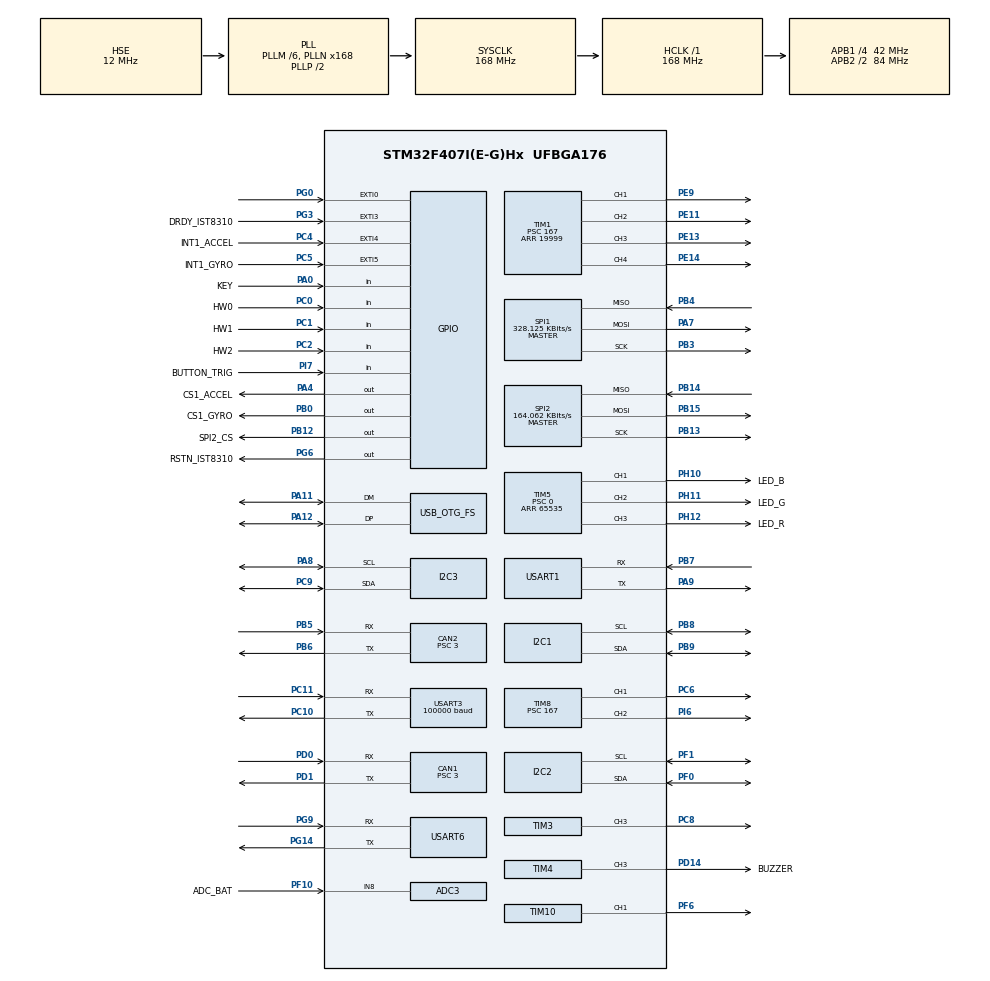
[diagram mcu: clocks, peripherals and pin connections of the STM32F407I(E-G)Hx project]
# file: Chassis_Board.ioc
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ADC1.Channel-0\#ChannelRegularConversion=ADC_CHANNEL_TEMPSENSOR
ADC1.ClockPrescaler=ADC_CLOCK_SYNC_PCLK_DIV6
ADC1.NbrOfConversionFlag=1
ADC1.Rank-0\#ChannelRegularConversion=1
ADC1.SamplingTime-0\#ChannelRegularConversion=ADC_SAMPLETIME_3CYCLES
ADC1.master=1
ADC3.Channel-0\#ChannelRegularConversion=ADC_CHANNEL_8
ADC3.ClockPrescaler=ADC_CLOCK_SYNC_PCLK_DIV6
ADC3.NbrOfConversionFlag=1
ADC3.Rank-0\#ChannelRegularConversion=1
ADC3.SamplingTime-0\#ChannelRegularConversion=ADC_SAMPLETIME_3CYCLES
CAN1.BS1=CAN_BS1_10TQ
CAN1.BS2=CAN_BS2_3TQ
CAN1.CalculateTimeQuantum=71.42857142857143
CAN1.Prescaler=3
CAN2.BS1=CAN_BS1_10TQ
CAN2.BS2=CAN_BS2_3TQ
CAN2.CalculateTimeQuantum=71.42857142857143
CAN2.Prescaler=3
Dma.I2C2_TX.2.Direction=DMA_MEMORY_TO_PERIPH
Dma.I2C2_TX.2.FIFOMode=DMA_FIFOMODE_DISABLE
Dma.I2C2_TX.2.Instance=DMA1_Stream7
Dma.I2C2_TX.2.MemDataAlignment=DMA_MDATAALIGN_BYTE
Dma.I2C2_TX.2.MemInc=DMA_MINC_ENABLE
Dma.I2C2_TX.2.Mode=DMA_NORMAL
Dma.I2C2_TX.2.PeriphDataAlignment=DMA_PDATAALIGN_BYTE
Dma.I2C2_TX.2.PeriphInc=DMA_PINC_DISABLE
Dma.I2C2_TX.2.Priority=DMA_PRIORITY_HIGH
Dma.Request0=SPI1_RX
Dma.Request1=SPI1_TX
Dma.Request2=I2C2_TX
Dma.Request3=USART3_RX
Dma.Request4=USART6_RX
Dma.Request5=USART6_TX
Dma.Request6=USART1_TX
Dma.SPI1_RX.0.Direction=DMA_PERIPH_TO_MEMORY
Dma.SPI1_RX.0.FIFOMode=DMA_FIFOMODE_DISABLE
Dma.SPI1_RX.0.Instance=DMA2_Stream2
Dma.SPI1_RX.0.MemDataAlignment=DMA_MDATAALIGN_BYTE
Dma.SPI1_RX.0.MemInc=DMA_MINC_ENABLE
Dma.SPI1_RX.0.Mode=DMA_NORMAL
Dma.SPI1_RX.0.PeriphDataAlignment=DMA_PDATAALIGN_BYTE
Dma.SPI1_RX.0.PeriphInc=DMA_PINC_DISABLE
Dma.SPI1_RX.0.Priority=DMA_PRIORITY_VERY_HIGH
Dma.SPI1_TX.1.Direction=DMA_MEMORY_TO_PERIPH
Dma.SPI1_TX.1.FIFOMode=DMA_FIFOMODE_DISABLE
Dma.SPI1_TX.1.Instance=DMA2_Stream3
Dma.SPI1_TX.1.MemDataAlignment=DMA_MDATAALIGN_BYTE
Dma.SPI1_TX.1.MemInc=DMA_MINC_ENABLE
Dma.SPI1_TX.1.Mode=DMA_NORMAL
Dma.SPI1_TX.1.PeriphDataAlignment=DMA_PDATAALIGN_BYTE
Dma.SPI1_TX.1.PeriphInc=DMA_PINC_DISABLE
Dma.SPI1_TX.1.Priority=DMA_PRIORITY_HIGH
Dma.USART1_TX.6.Direction=DMA_MEMORY_TO_PERIPH
Dma.USART1_TX.6.FIFOMode=DMA_FIFOMODE_DISABLE
Dma.USART1_TX.6.Instance=DMA2_Stream7
Dma.USART1_TX.6.MemDataAlignment=DMA_MDATAALIGN_BYTE
Dma.USART1_TX.6.MemInc=DMA_MINC_ENABLE
Dma.USART1_TX.6.Mode=DMA_NORMAL
Dma.USART1_TX.6.PeriphDataAlignment=DMA_PDATAALIGN_BYTE
Dma.USART1_TX.6.PeriphInc=DMA_PINC_DISABLE
Dma.USART1_TX.6.Priority=DMA_PRIORITY_MEDIUM
Dma.USART3_RX.3.Direction=DMA_PERIPH_TO_MEMORY
Dma.USART3_RX.3.FIFOMode=DMA_FIFOMODE_DISABLE
Dma.USART3_RX.3.Instance=DMA1_Stream1
Dma.USART3_RX.3.MemDataAlignment=DMA_MDATAALIGN_BYTE
Dma.USART3_RX.3.MemInc=DMA_MINC_ENABLE
Dma.USART3_RX.3.Mode=DMA_NORMAL
Dma.USART3_RX.3.PeriphDataAlignment=DMA_PDATAALIGN_BYTE
Dma.USART3_RX.3.PeriphInc=DMA_PINC_DISABLE
Dma.USART3_RX.3.Priority=DMA_PRIORITY_HIGH
Dma.USART6_RX.4.Direction=DMA_PERIPH_TO_MEMORY
Dma.USART6_RX.4.FIFOMode=DMA_FIFOMODE_DISABLE
Dma.USART6_RX.4.Instance=DMA2_Stream1
Dma.USART6_RX.4.MemDataAlignment=DMA_MDATAALIGN_BYTE
Dma.USART6_RX.4.MemInc=DMA_MINC_ENABLE
Dma.USART6_RX.4.Mode=DMA_NORMAL
Dma.USART6_RX.4.PeriphDataAlignment=DMA_PDATAALIGN_BYTE
Dma.USART6_RX.4.PeriphInc=DMA_PINC_DISABLE
Dma.USART6_RX.4.Priority=DMA_PRIORITY_HIGH
Dma.USART6_TX.5.Direction=DMA_MEMORY_TO_PERIPH
Dma.USART6_TX.5.FIFOMode=DMA_FIFOMODE_DISABLE
Dma.USART6_TX.5.Instance=DMA2_Stream6
Dma.USART6_TX.5.MemDataAlignment=DMA_MDATAALIGN_BYTE
Dma.USART6_TX.5.MemInc=DMA_MINC_ENABLE
Dma.USART6_TX.5.Mode=DMA_NORMAL
Dma.USART6_TX.5.PeriphDataAlignment=DMA_PDATAALIGN_BYTE
Dma.USART6_TX.5.PeriphInc=DMA_PINC_DISABLE
Dma.USART6_TX.5.Priority=DMA_PRIORITY_MEDIUM
FREERTOS.INCLUDE_eTaskGetState=1
FREERTOS.INCLUDE_pcTaskGetTaskName=1
FREERTOS.INCLUDE_uxTaskGetStackHighWaterMark=1
FREERTOS.INCLUDE_vTaskCleanUpResources=1
FREERTOS.INCLUDE_vTaskDelayUntil=1
FREERTOS.INCLUDE_xEventGroupSetBitFromISR=1
FREERTOS.INCLUDE_xQueueGetMutexHolder=1
FREERTOS.INCLUDE_xSemaphoreGetMutexHolder=1
FREERTOS.INCLUDE_xTaskAbortDelay=1
FREERTOS.INCLUDE_xTaskGetCurrentTaskHandle=1
FREERTOS.INCLUDE_xTaskGetHandle=1
FREERTOS.INCLUDE_xTimerPendFunctionCall=1
FREERTOS.Tasks01=test,24,128,test_task,As weak,NULL,Dynamic,NULL,NULL
FREERTOS.configTOTAL_HEAP_SIZE=24576
I2C1.I2C_Mode=I2C_Fast
I2C2.I2C_Mode=I2C_Fast
I2C3.I2C_Mode=I2C_Fast
Mcu.Family=STM32F4
Mcu.Name=STM32F407I(E-G)Hx
Mcu.Package=UFBGA176
NVIC.CAN1_RX0_IRQn=true\:6\:0\:true\:false\:true\:true\:true\:true
NVIC.CAN2_RX0_IRQn=true\:6\:0\:true\:false\:true\:true\:true\:true
NVIC.DMA1_Stream1_IRQn=true\:5\:0\:true\:false\:false\:true\:false\:false
NVIC.DMA1_Stream7_IRQn=true\:5\:0\:true\:false\:false\:true\:false\:true
NVIC.DMA2_Stream1_IRQn=true\:5\:0\:true\:false\:true\:true\:false\:true
NVIC.DMA2_Stream2_IRQn=true\:5\:0\:true\:false\:false\:true\:false\:true
NVIC.DMA2_Stream3_IRQn=true\:5\:0\:true\:false\:false\:true\:false\:true
NVIC.DMA2_Stream6_IRQn=true\:5\:0\:true\:false\:true\:true\:false\:true
NVIC.DMA2_Stream7_IRQn=true\:5\:0\:true\:false\:true\:true\:false\:true
NVIC.EXTI0_IRQn=true\:6\:0\:true\:false\:true\:true\:true\:true
NVIC.EXTI3_IRQn=true\:5\:0\:true\:false\:true\:true\:true\:true
NVIC.EXTI4_IRQn=true\:5\:0\:true\:false\:true\:true\:true\:true
NVIC.EXTI9_5_IRQn=true\:5\:0\:true\:false\:true\:true\:true\:true
NVIC.OTG_FS_IRQn=true\:5\:0\:false\:false\:true\:true\:false\:true
NVIC.PriorityGroup=NVIC_PRIORITYGROUP_4
NVIC.USART3_IRQn=true\:4\:0\:true\:false\:false\:false\:true\:true
NVIC.USART6_IRQn=true\:5\:0\:true\:false\:false\:true\:true\:true
PA0-WKUP.GPIO_Label=KEY
PA0-WKUP.GPIO_PuPd=GPIO_PULLUP
PA0-WKUP.Signal=GPIO_Input
PA11.Mode=Device_Only
PA11.Signal=USB_OTG_FS_DM
PA12.Mode=Device_Only
PA12.Signal=USB_OTG_FS_DP
PA13.Mode=Serial_Wire
PA13.Signal=SYS_JTMS-SWDIO
PA14.Mode=Serial_Wire
PA14.Signal=SYS_JTCK-SWCLK
PA4.GPIO_Label=CS1_ACCEL
PA4.GPIO_PuPd=GPIO_PULLUP
PA4.GPIO_Speed=GPIO_SPEED_FREQ_HIGH
PA4.PinState=GPIO_PIN_SET
PA4.Signal=GPIO_Output
PA7.GPIO_PuPd=GPIO_PULLUP
PA7.Mode=Full_Duplex_Master
PA7.Signal=SPI1_MOSI
PA8.Mode=I2C
PA8.Signal=I2C3_SCL
PA9.Mode=Asynchronous
PA9.Signal=USART1_TX
PB0.GPIO_Label=CS1_GYRO
PB0.GPIO_PuPd=GPIO_PULLUP
PB0.GPIO_Speed=GPIO_SPEED_FREQ_HIGH
PB0.PinState=GPIO_PIN_SET
PB0.Signal=GPIO_Output
PB12.GPIO_Label=SPI2_CS
PB12.GPIO_PuPd=GPIO_PULLUP
PB12.GPIO_Speed=GPIO_SPEED_FREQ_MEDIUM
PB12.PinState=GPIO_PIN_SET
PB12.Signal=GPIO_Output
PB13.GPIO_PuPd=GPIO_PULLUP
PB13.Mode=Full_Duplex_Master
PB13.Signal=SPI2_SCK
PB14.GPIO_PuPd=GPIO_PULLUP
PB14.Mode=Full_Duplex_Master
PB14.Signal=SPI2_MISO
PB15.GPIO_PuPd=GPIO_PULLUP
PB15.Mode=Full_Duplex_Master
PB15.Signal=SPI2_MOSI
PB3.GPIO_PuPd=GPIO_PULLUP
PB3.Mode=Full_Duplex_Master
PB3.Signal=SPI1_SCK
PB4.GPIO_PuPd=GPIO_PULLUP
PB4.Mode=Full_Duplex_Master
PB4.Signal=SPI1_MISO
PB5.Mode=Slave
PB5.Signal=CAN2_RX
PB6.Mode=Slave
PB6.Signal=CAN2_TX
PB7.Mode=Asynchronous
PB7.Signal=USART1_RX
PB8.Mode=I2C
PB8.Signal=I2C1_SCL
PB9.Mode=I2C
PB9.Signal=I2C1_SDA
PC0.GPIO_Label=HW0
PC0.Signal=GPIO_Input
PC1.GPIO_Label=HW1
PC1.Signal=GPIO_Input
PC10.Mode=Asynchronous
PC10.Signal=USART3_TX
PC11.Mode=Asynchronous
PC11.Signal=USART3_RX
PC2.GPIO_Label=HW2
PC2.Signal=GPIO_Input
PC4.GPIO_Label=INT1_ACCEL
PC4.GPIO_ModeDefaultEXTI=GPIO_MODE_IT_FALLING
PC4.GPIO_PuPd=GPIO_PULLUP
PC4.Signal=GPXTI4
PC5.GPIO_Label=INT1_GYRO
PC5.GPIO_ModeDefaultEXTI=GPIO_MODE_IT_FALLING
PC5.GPIO_PuPd=GPIO_PULLUP
PC5.Signal=GPXTI5
PC6.GPIO_PuPd=GPIO_PULLUP
PC6.GPIO_Speed=GPIO_SPEED_FREQ_HIGH
PC6.Signal=S_TIM8_CH1
PC8.GPIO_PuPd=GPIO_PULLUP
PC8.GPIO_Speed=GPIO_SPEED_FREQ_HIGH
PC8.Signal=S_TIM3_CH3
PC9.Mode=I2C
PC9.Signal=I2C3_SDA
PD0.Mode=Master
PD0.Signal=CAN1_RX
PD1.Mode=Master
PD1.Signal=CAN1_TX
PD14.GPIO_Label=BUZZER
PD14.GPIO_PuPd=GPIO_PULLUP
PD14.GPIO_Speed=GPIO_SPEED_FREQ_VERY_HIGH
PD14.Signal=S_TIM4_CH3
PE11.GPIO_PuPd=GPIO_PULLUP
PE11.GPIO_Speed=GPIO_SPEED_FREQ_HIGH
PE11.Signal=S_TIM1_CH2
PE13.GPIO_PuPd=GPIO_PULLUP
PE13.GPIO_Speed=GPIO_SPEED_FREQ_HIGH
PE13.Signal=S_TIM1_CH3
PE14.GPIO_PuPd=GPIO_PULLUP
PE14.GPIO_Speed=GPIO_SPEED_FREQ_HIGH
PE14.Signal=S_TIM1_CH4
PE9.GPIO_PuPd=GPIO_PULLUP
PE9.GPIO_Speed=GPIO_SPEED_FREQ_HIGH
PE9.Signal=S_TIM1_CH1
PF0.Mode=I2C
PF0.Signal=I2C2_SDA
PF1.Mode=I2C
PF1.Signal=I2C2_SCL
PF10.GPIO_Label=ADC_BAT
PF10.Mode=IN8
PF10.Signal=ADC3_IN8
PF6.GPIO_PuPd=GPIO_PULLUP
PF6.GPIO_Speed=GPIO_SPEED_FREQ_HIGH
PF6.Signal=S_TIM10_CH1
PG0.GPIO_ModeDefaultEXTI=GPIO_MODE_IT_FALLING
PG0.GPIO_PuPd=GPIO_PULLUP
PG0.Signal=GPXTI0
PG14.Mode=Asynchronous
PG14.Signal=USART6_TX
PG3.GPIO_Label=DRDY_IST8310
PG3.GPIO_ModeDefaultEXTI=GPIO_MODE_IT_FALLING
PG3.GPIO_PuPd=GPIO_PULLUP
PG3.Signal=GPXTI3
PG6.GPIO_Label=RSTN_IST8310
PG6.GPIO_PuPd=GPIO_PULLUP
PG6.GPIO_Speed=GPIO_SPEED_FREQ_MEDIUM
PG6.PinState=GPIO_PIN_SET
PG6.Signal=GPIO_Output
PG9.Mode=Asynchronous
PG9.Signal=USART6_RX
PH0-OSC_IN.Mode=HSE-External-Oscillator
PH0-OSC_IN.Signal=RCC_OSC_IN
PH1-OSC_OUT.Mode=HSE-External-Oscillator
PH1-OSC_OUT.Signal=RCC_OSC_OUT
PH10.GPIO_Label=LED_B
PH10.GPIO_PuPd=GPIO_PULLUP
PH10.GPIO_Speed=GPIO_SPEED_FREQ_HIGH
PH10.Signal=S_TIM5_CH1
PH11.GPIO_Label=LED_G
PH11.GPIO_PuPd=GPIO_PULLUP
PH11.GPIO_Speed=GPIO_SPEED_FREQ_HIGH
PH11.Signal=S_TIM5_CH2
PH12.GPIO_Label=LED_R
PH12.GPIO_PuPd=GPIO_PULLUP
PH12.GPIO_Speed=GPIO_SPEED_FREQ_HIGH
PH12.Signal=S_TIM5_CH3
PI6.GPIO_PuPd=GPIO_PULLUP
PI6.GPIO_Speed=GPIO_SPEED_FREQ_HIGH
PI6.Signal=S_TIM8_CH2
PI7.GPIO_Label=BUTTON_TRIG
PI7.GPIO_PuPd=GPIO_PULLUP
PI7.Signal=GPIO_Input
ProjectManager.HeapSize=0x2000
ProjectManager.StackSize=0x2000
ProjectManager.TargetToolchain=SW4STM32
RCC.48MHZClocksFreq_Value=48000000
RCC.AHBFreq_Value=168000000
RCC.APB1CLKDivider=RCC_HCLK_DIV4
RCC.APB1Freq_Value=42000000
RCC.APB1TimFreq_Value=84000000
RCC.APB2CLKDivider=RCC_HCLK_DIV2
RCC.APB2Freq_Value=84000000
RCC.APB2TimFreq_Value=168000000
RCC.CortexFreq_Value=168000000
RCC.HCLKFreq_Value=168000000
RCC.HSE_VALUE=12000000
RCC.HSI_VALUE=16000000
RCC.LSE_VALUE=32768
RCC.PLLM=6
RCC.PLLN=168
RCC.PLLQ=7
RCC.RCC_RTC_Clock_SourceVirtual=RCC_RTCCLKSOURCE_HSE_DIV30
RCC.RCC_RTC_Clock_Source_FROM_HSE=RCC_RTCCLKSOURCE_HSE_DIV30
RCC.SYSCLKFreq_VALUE=168000000
RCC.SYSCLKSource=RCC_SYSCLKSOURCE_PLLCLK
RCC.VCOOutputFreq_Value=336000000
RTC.AsynchPrediv=124
RTC.SynchPrediv=3199
SH.S_TIM10_CH1.0=TIM10_CH1,PWM Generation1 CH1
SH.S_TIM1_CH1.0=TIM1_CH1,PWM Generation1 CH1
SH.S_TIM1_CH2.0=TIM1_CH2,PWM Generation2 CH2
SH.S_TIM1_CH3.0=TIM1_CH3,PWM Generation3 CH3
SH.S_TIM1_CH4.0=TIM1_CH4,PWM Generation4 CH4
SH.S_TIM3_CH3.0=TIM3_CH3,PWM Generation3 CH3
SH.S_TIM4_CH3.0=TIM4_CH3,PWM Generation3 CH3
SH.S_TIM5_CH1.0=TIM5_CH1,PWM Generation1 CH1
SH.S_TIM5_CH2.0=TIM5_CH2,PWM Generation2 CH2
SH.S_TIM5_CH3.0=TIM5_CH3,PWM Generation3 CH3
SH.S_TIM8_CH1.0=TIM8_CH1,PWM Generation1 CH1
SH.S_TIM8_CH2.0=TIM8_CH2,PWM Generation2 CH2
SPI1.BaudRatePrescaler=SPI_BAUDRATEPRESCALER_256
SPI1.CLKPhase=SPI_PHASE_2EDGE
SPI1.CLKPolarity=SPI_POLARITY_HIGH
SPI1.CalculateBaudRate=328.125 KBits/s
SPI1.Direction=SPI_DIRECTION_2LINES
SPI1.Mode=SPI_MODE_MASTER
SPI1.VirtualType=VM_MASTER
SPI2.BaudRatePrescaler=SPI_BAUDRATEPRESCALER_256
SPI2.CLKPhase=SPI_PHASE_2EDGE
SPI2.CLKPolarity=SPI_POLARITY_HIGH
SPI2.CalculateBaudRate=164.062 KBits/s
SPI2.Direction=SPI_DIRECTION_2LINES
SPI2.Mode=SPI_MODE_MASTER
SPI2.VirtualType=VM_MASTER
TIM1.Channel-PWM\ Generation1\ CH1=TIM_CHANNEL_1
TIM1.Channel-PWM\ Generation2\ CH2=TIM_CHANNEL_2
TIM1.Channel-PWM\ Generation3\ CH3=TIM_CHANNEL_3
TIM1.Channel-PWM\ Generation4\ CH4=TIM_CHANNEL_4
TIM1.Period=19999
TIM1.Prescaler=167
TIM1.Pulse-PWM\ Generation1\ CH1=1000
TIM1.Pulse-PWM\ Generation2\ CH2=1000
TIM1.Pulse-PWM\ Generation3\ CH3=1000
TIM1.Pulse-PWM\ Generation4\ CH4=1000
TIM10.Channel=TIM_CHANNEL_1
TIM10.Period=4999
TIM3.Channel-PWM\ Generation3\ CH3=TIM_CHANNEL_3
TIM3.Period=8399
TIM4.Channel-PWM\ Generation3\ CH3=TIM_CHANNEL_3
TIM4.Period=65535
TIM4.Prescaler=167
TIM5.Channel-PWM\ Generation1\ CH1=TIM_CHANNEL_1
TIM5.Channel-PWM\ Generation2\ CH2=TIM_CHANNEL_2
TIM5.Channel-PWM\ Generation3\ CH3=TIM_CHANNEL_3
TIM5.Period=65535
TIM5.Prescaler=0
TIM8.Channel-PWM\ Generation1\ CH1=TIM_CHANNEL_1
TIM8.Channel-PWM\ Generation2\ CH2=TIM_CHANNEL_2
TIM8.Period=19999
TIM8.Prescaler=167
TIM8.Pulse-PWM\ Generation1\ CH1=1000
TIM8.Pulse-PWM\ Generation2\ CH2=1000
USART1.VirtualMode=VM_ASYNC
USART3.BaudRate=100000
USART3.Parity=PARITY_EVEN
USART3.VirtualMode=VM_ASYNC
USART6.VirtualMode=VM_ASYNC
USB_DEVICE.CLASS_NAME_FS=CDC
USB_DEVICE.VirtualMode-CDC_FS=Cdc
USB_DEVICE.VirtualModeFS=Cdc_FS
USB_OTG_FS.VirtualMode=Device_Only
VP_ADC1_TempSens_Input.Mode=IN-TempSens
VP_ADC1_Vref_Input.Mode=IN-Vrefint
VP_CRC_VS_CRC.Mode=CRC_Activate
VP_FREERTOS_VS_CMSIS_V1.Mode=CMSIS_V1
VP_RNG_VS_RNG.Mode=RNG_Activate
VP_RTC_VS_RTC_Activate.Mode=RTC_Enabled
VP_TIM10_VS_ClockSourceINT.Mode=Enable_Timer
VP_TIM1_VS_ClockSourceINT.Mode=Internal
VP_TIM3_VS_ClockSourceINT.Mode=Internal
VP_TIM4_VS_ClockSourceINT.Mode=Internal
VP_TIM5_VS_ClockSourceINT.Mode=Internal
VP_TIM8_VS_ClockSourceINT.Mode=Internal
VP_USB_DEVICE_VS_USB_DEVICE_CDC_FS.Mode=CDC_FS
board=custom

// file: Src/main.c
/* USER CODE BEGIN Header */
/**
  ******************************************************************************
  * @file           : main.c
  * @brief          : Main program body
  ******************************************************************************
  * @attention
  *
  * <h2><center>&copy; Copyright (c) 2021 STMicroelectronics.
  * All rights reserved.</center></h2>
  *
  * This software component is licensed by ST under Ultimate Liberty license
  * SLA0044, the "License"; You may not use this file except in compliance with
  * the License. You may obtain a copy of the License at:
  *                             www.st.com/SLA0044
  *
  ******************************************************************************
  */
/* USER CODE END Header */

#include "main.h"
#include "cmsis_os.h"
#include "adc.h"
#include "can.h"
#include "crc.h"
#include "dma.h"
#include "i2c.h"
#include "rng.h"
#include "rtc.h"
#include "spi.h"
#include "tim.h"
#include "usart.h"
#include "gpio.h"

/* USER CODE BEGIN Includes */
#include "System_Config.h"
#include "remote_data.h"
#include "bsp_can.h"
#include "bsp_usart.h"
#include "referee_task.h"
/* USER CODE END Includes */

void SystemClock_Config(void);

void MX_FREERTOS_Init(void);

int main(void) {

    /* MCU Configuration--------------------------------------------------------*/

    /* Reset of all peripherals, Initializes the Flash interface and the Systick. */
    HAL_Init();

    /* Configure the system clock */
    SystemClock_Config();

    /* Initialize all configured peripherals */
    MX_GPIO_Init();
    MX_DMA_Init();
    MX_ADC1_Init();
    MX_ADC3_Init();
    MX_CAN1_Init();
    MX_CAN2_Init();
    MX_I2C1_Init();
    MX_SPI1_Init();
    MX_TIM4_Init();
    MX_TIM5_Init();
    MX_USART3_UART_Init();
    MX_TIM8_Init();
    MX_CRC_Init();
    MX_RNG_Init();
    MX_I2C2_Init();
    MX_I2C3_Init();
    MX_RTC_Init();
    MX_SPI2_Init();
    MX_TIM1_Init();
    MX_TIM3_Init();
    MX_TIM10_Init();
    MX_USART1_UART_Init();
    MX_USART6_UART_Init();
    /* Call init function for freertos objects (in freertos.c) */
    MX_FREERTOS_Init();

    /* Start scheduler */
    osKernelStart();

    /* We should never get here as control is now taken by the scheduler */

    /* Infinite loop */
    while (1) {

    }
}

void SystemClock_Config(void) {
    RCC_OscInitTypeDef RCC_OscInitStruct = {0};
    RCC_ClkInitTypeDef RCC_ClkInitStruct = {0};
    RCC_PeriphCLKInitTypeDef PeriphClkInitStruct = {0};

    /** Configure the main internal regulator output voltage
    */
    __HAL_RCC_PWR_CLK_ENABLE();
    __HAL_PWR_VOLTAGESCALING_CONFIG(PWR_REGULATOR_VOLTAGE_SCALE1);
    /** Initializes the CPU, AHB and APB busses clocks
    */
    RCC_OscInitStruct.OscillatorType = RCC_OSCILLATORTYPE_HSE;
    RCC_OscInitStruct.HSEState = RCC_HSE_ON;
    RCC_OscInitStruct.PLL.PLLState = RCC_PLL_ON;
    RCC_OscInitStruct.PLL.PLLSource = RCC_PLLSOURCE_HSE;
    RCC_OscInitStruct.PLL.PLLM = 6;
    RCC_OscInitStruct.PLL.PLLN = 168;
    RCC_OscInitStruct.PLL.PLLP = RCC_PLLP_DIV2;
    RCC_OscInitStruct.PLL.PLLQ = 7;
    if (HAL_RCC_OscConfig(&RCC_OscInitStruct) != HAL_OK) {
        Error_Handler();
    }
    /** Initializes the CPU, AHB and APB busses clocks
    */
    RCC_ClkInitStruct.ClockType = RCC_CLOCKTYPE_HCLK | RCC_CLOCKTYPE_SYSCLK
                                  | RCC_CLOCKTYPE_PCLK1 | RCC_CLOCKTYPE_PCLK2;
    RCC_ClkInitStruct.SYSCLKSource = RCC_SYSCLKSOURCE_PLLCLK;
    RCC_ClkInitStruct.AHBCLKDivider = RCC_SYSCLK_DIV1;
    RCC_ClkInitStruct.APB1CLKDivider = RCC_HCLK_DIV4;
    RCC_ClkInitStruct.APB2CLKDivider = RCC_HCLK_DIV2;

    if (HAL_RCC_ClockConfig(&RCC_ClkInitStruct, FLASH_LATENCY_5) != HAL_OK) {
        Error_Handler();
    }
    PeriphClkInitStruct.PeriphClockSelection = RCC_PERIPHCLK_RTC;
    PeriphClkInitStruct.RTCClockSelection = RCC_RTCCLKSOURCE_HSE_DIV30;
    if (HAL_RCCEx_PeriphCLKConfig(&PeriphClkInitStruct) != HAL_OK) {
        Error_Handler();
    }
}

/* USER CODE BEGIN 4 */
void Task_init() {
    /* Syetem Service init --------------*/
    remote_control_init();
    usart1_tx_dma_init();
    can_filter_init();
    /* Applications Init ----------------*/
}
/* USER CODE END 4 */

void Error_Handler(void) {
}

/************************ (C) COPYRIGHT STMicroelectronics *****END OF FILE****/

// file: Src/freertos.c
/* USER CODE BEGIN Header */
/**
  ******************************************************************************
  * File Name          : freertos.c
  * Description        : Code for freertos applications
  ******************************************************************************
  * @attention
  *
  * <h2><center>&copy; Copyright (c) 2021 STMicroelectronics.
  * All rights reserved.</center></h2>
  *
  * This software component is licensed by ST under Ultimate Liberty license
  * SLA0044, the "License"; You may not use this file except in compliance with
  * the License. You may obtain a copy of the License at:
  *                             www.st.com/SLA0044
  *
  ******************************************************************************
  */
/* USER CODE END Header */

#include <referee_task.h>
#include "FreeRTOS.h"
#include "task.h"
#include "main.h"
#include "cmsis_os.h"

/* USER CODE BEGIN Includes */
#include "System_Config.h"
/* USER CODE END Includes */

/* USER CODE BEGIN Variables */
osThreadId testHandle;
osThreadId startTaskHandle;
TaskHandle_t Referee_Task_Handle;
/* USER CODE END Variables */
osThreadId testHandle;

/* USER CODE BEGIN FunctionPrototypes */
void start_task(void const *argument);

/* USER CODE END FunctionPrototypes */

void test_task(void const *argument);

extern void MX_USB_DEVICE_Init(void);

void MX_FREERTOS_Init(void); /* (MISRA C 2004 rule 8.1) */

/* GetIdleTaskMemory prototype (linked to static allocation support) */
void vApplicationGetIdleTaskMemory(StaticTask_t **ppxIdleTaskTCBBuffer, StackType_t **ppxIdleTaskStackBuffer,
                                   uint32_t *pulIdleTaskStackSize);

/* GetTimerTaskMemory prototype (linked to static allocation support) */
void vApplicationGetTimerTaskMemory(StaticTask_t **ppxTimerTaskTCBBuffer, StackType_t **ppxTimerTaskStackBuffer,
                                    uint32_t *pulTimerTaskStackSize);

/* USER CODE BEGIN GET_IDLE_TASK_MEMORY */
static StaticTask_t xIdleTaskTCBBuffer;
static StackType_t xIdleStack[configMINIMAL_STACK_SIZE];

void vApplicationGetIdleTaskMemory(StaticTask_t **ppxIdleTaskTCBBuffer, StackType_t **ppxIdleTaskStackBuffer,
                                   uint32_t *pulIdleTaskStackSize) {
    *ppxIdleTaskTCBBuffer = &xIdleTaskTCBBuffer;
    *ppxIdleTaskStackBuffer = &xIdleStack[0];
    *pulIdleTaskStackSize = configMINIMAL_STACK_SIZE;
    /* place for user code */
}
/* USER CODE END GET_IDLE_TASK_MEMORY */

/* USER CODE BEGIN GET_TIMER_TASK_MEMORY */
static StaticTask_t xTimerTaskTCBBuffer;
static StackType_t xTimerStack[configTIMER_TASK_STACK_DEPTH];

void vApplicationGetTimerTaskMemory(StaticTask_t **ppxTimerTaskTCBBuffer, StackType_t **ppxTimerTaskStackBuffer,
                                    uint32_t *pulTimerTaskStackSize) {
    *ppxTimerTaskTCBBuffer = &xTimerTaskTCBBuffer;
    *ppxTimerTaskStackBuffer = &xTimerStack[0];
    *pulTimerTaskStackSize = configTIMER_TASK_STACK_DEPTH;
    /* place for user code */
}
/* USER CODE END GET_TIMER_TASK_MEMORY */

void MX_FREERTOS_Init(void) {

    /* Create the thread(s) */
    /* definition and creation of test */

    /* USER CODE BEGIN RTOS_THREADS */
    osThreadDef(start, start_task, osPriorityNormal, 0, 128);
    startTaskHandle = osThreadCreate(osThread(start), NULL);
    /* add threads, ... */
    /* USER CODE END RTOS_THREADS */

}

__weak void test_task(void const *argument) {
    /* init code for USB_DEVICE */
    MX_USB_DEVICE_Init();

    for (;;) {
        osDelay(1);
    }
}

/* USER CODE BEGIN Application */
void Referee_start() {
    xTaskCreate(referee_task, "referee_task", 512, NULL, 6, &Referee_Task_Handle);
}
__weak void start_task(void const *argument) {
    /* USER CODE BEGIN test_task */
    Task_init();
    /* Infinite loop */
    for (;;) {
        Referee_start();
        Task_start();
        /* Delete_Graph the default task. */
        osThreadTerminate(startTaskHandle);
    }
    /* USER CODE END test_task */
}
/* USER CODE END Application */

/************************ (C) COPYRIGHT STMicroelectronics *****END OF FILE****/
